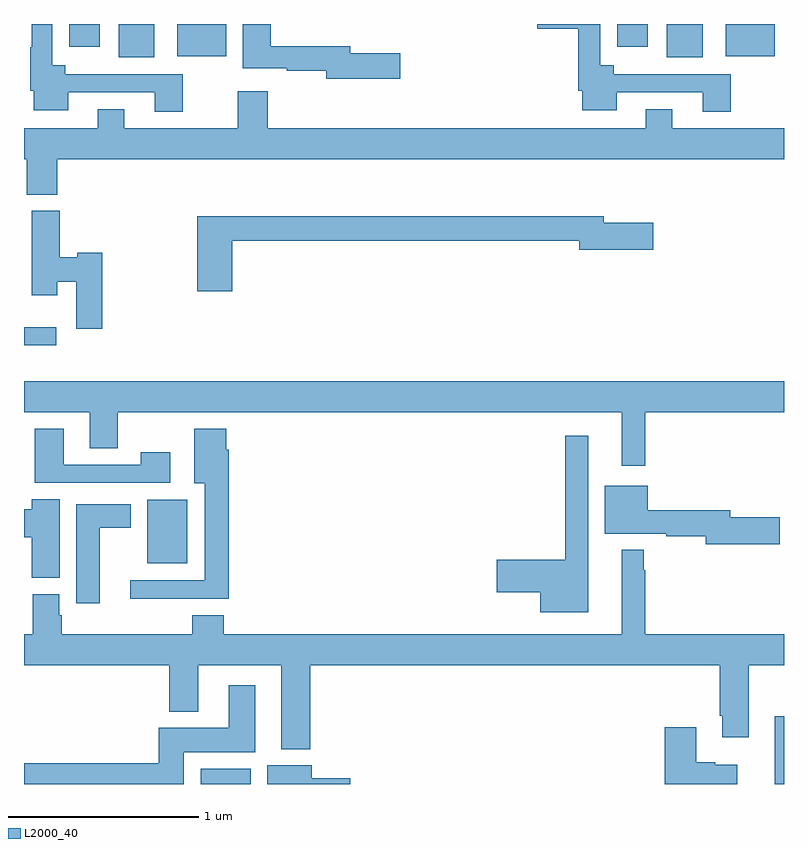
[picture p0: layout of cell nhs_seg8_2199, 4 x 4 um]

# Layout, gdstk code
import gdstk
lib = gdstk.Library(unit=1e-6, precision=1e-09)
def R(c, l, rs):  # rectangles x0, y0, x1, y1
    for r in rs: c.add(gdstk.rectangle(r[:2], r[2:], *l))
def P(c, l, *ps):  # polygons
    for p in ps: c.add(gdstk.Polygon(p, *l))
L2000_40 = (2000, 40)

nhs_seg8_2199 = lib.new_cell('nhs_seg8_2199')
R(nhs_seg8_2199, L2000_40, [(251.93,1091.9,252.193,1091.98), (254.951,1091.9,255,1092.256), (251.648,1093.061,251.86,1093.396), (251,1094.208,251.17,1094.304), (251.498,1095.725,251.686,1095.9), (254.384,1095.725,254.572,1095.9), (251.807,1095.731,252.064,1095.9), (254.693,1095.731,254.95,1095.9), (251.237,1095.78,251.398,1095.9), (254.123,1095.78,254.284,1095.9)])
P(nhs_seg8_2199, L2000_40, [(251.835,1095.636),(251.218,1095.636),(251.218,1095.682),(251.148,1095.682),(251.148,1095.9),(251.04,1095.9),(251.04,1095.778),(251.032,1095.778),(251.032,1095.55),(251.051,1095.55),(251.051,1095.446),(251.233,1095.446),(251.233,1095.54),(251.687,1095.54),(251.687,1095.438),(251.835,1095.438)],
  [(254.721,1095.636),(254.104,1095.636),(254.104,1095.682),(254.034,1095.682),(254.034,1095.9),(253.7,1095.9),(253.7,1095.875),(253.918,1095.875),(253.918,1095.55),(253.937,1095.55),(253.937,1095.446),(254.119,1095.446),(254.119,1095.54),(254.573,1095.54),(254.573,1095.438),(254.721,1095.438)],
  [(252.979,1095.746),(252.718,1095.746),(252.718,1095.782),(252.299,1095.782),(252.299,1095.9),(252.152,1095.9),(252.152,1095.666),(252.382,1095.666),(252.382,1095.654),(252.59,1095.654),(252.59,1095.611),(252.979,1095.611)],
  [(254.273,1095.451),(254.273,1095.352),(252.284,1095.352),(252.284,1095.547),(252.124,1095.547),(252.124,1095.352),(251.527,1095.352),(251.527,1095.451),(251.387,1095.451),(251.387,1095.352),(251,1095.352),(251,1095.188),(251.014,1095.188),(251.014,1095.001),(251.174,1095.001),(251.174,1095.188),(255,1095.188),(255,1095.352),(254.413,1095.352),(254.413,1095.451)],
  [(251.411,1094.696),(251.28,1094.696),(251.28,1094.673),(251.189,1094.673),(251.189,1094.916),(251.042,1094.916),(251.042,1094.472),(251.176,1094.472),(251.176,1094.543),(251.276,1094.543),(251.276,1094.295),(251.411,1094.295)],
  [(252.095,1094.758),(253.922,1094.758),(253.922,1094.711),(254.311,1094.711),(254.311,1094.853),(254.05,1094.853),(254.05,1094.887),(251.912,1094.887),(251.912,1094.493),(252.095,1094.493)],
  [(254.269,1093.856),(255,1093.856),(255,1094.02),(251,1094.02),(251,1093.856),(251.345,1093.856),(251.345,1093.666),(251.493,1093.666),(251.493,1093.856),(254.147,1093.856),(254.147,1093.575),(254.269,1093.575)],
  [(251.77,1093.645),(251.614,1093.645),(251.614,1093.581),(251.209,1093.581),(251.209,1093.771),(251.057,1093.771),(251.057,1093.485),(251.77,1093.485)],
  [(252.077,1093.658),(252.064,1093.658),(252.064,1093.771),(251.897,1093.771),(251.897,1093.484),(251.951,1093.484),(251.951,1092.972),(251.559,1092.972),(251.559,1092.875),(252.077,1092.875)],
  [(253.969,1093.732),(253.848,1093.732),(253.848,1093.079),(253.488,1093.079),(253.488,1092.908),(253.718,1092.908),(253.718,1092.803),(253.969,1092.803)],
  [(254.977,1093.304),(254.716,1093.304),(254.716,1093.34),(254.284,1093.34),(254.284,1093.471),(254.057,1093.471),(254.057,1093.217),(254.38,1093.217),(254.38,1093.204),(254.588,1093.204),(254.588,1093.162),(254.977,1093.162)],
  [(251.188,1093.4),(251.042,1093.4),(251.042,1093.346),(251,1093.346),(251,1093.199),(251.042,1093.199),(251.042,1092.985),(251.188,1092.985)],
  [(251.398,1093.25),(251.563,1093.25),(251.563,1093.372),(251.276,1093.372),(251.276,1092.852),(251.398,1092.852)],
  [(252.506,1092.524),(254.663,1092.524),(254.663,1092.259),(254.675,1092.259),(254.675,1092.147),(254.815,1092.147),(254.815,1092.524),(255,1092.524),(255,1092.688),(254.269,1092.688),(254.269,1093.025),(254.262,1093.025),(254.262,1093.132),(254.147,1093.132),(254.147,1092.688),(252.05,1092.688),(252.05,1092.787),(251.885,1092.787),(251.885,1092.688),(251.198,1092.688),(251.198,1092.789),(251.185,1092.789),(251.185,1092.9),(251.045,1092.9),(251.045,1092.688),(251,1092.688),(251,1092.524),(251.765,1092.524),(251.765,1092.281),(251.917,1092.281),(251.917,1092.524),(252.353,1092.524),(252.353,1092.083),(252.506,1092.083)],
  [(251.842,1092.068),(252.217,1092.068),(252.217,1092.421),(252.077,1092.421),(252.077,1092.196),(251.708,1092.196),(251.708,1092.008),(251,1092.008),(251,1091.9),(251.842,1091.9)],
  [(254.755,1092.001),(254.639,1092.001),(254.639,1092.014),(254.539,1092.014),(254.539,1092.199),(254.372,1092.199),(254.372,1091.9),(254.755,1091.9)],
  [(252.718,1091.93),(252.514,1091.93),(252.514,1091.998),(252.281,1091.998),(252.281,1091.9),(252.718,1091.9)])

lib.write_gds('nhs_seg8_2199.gds')
